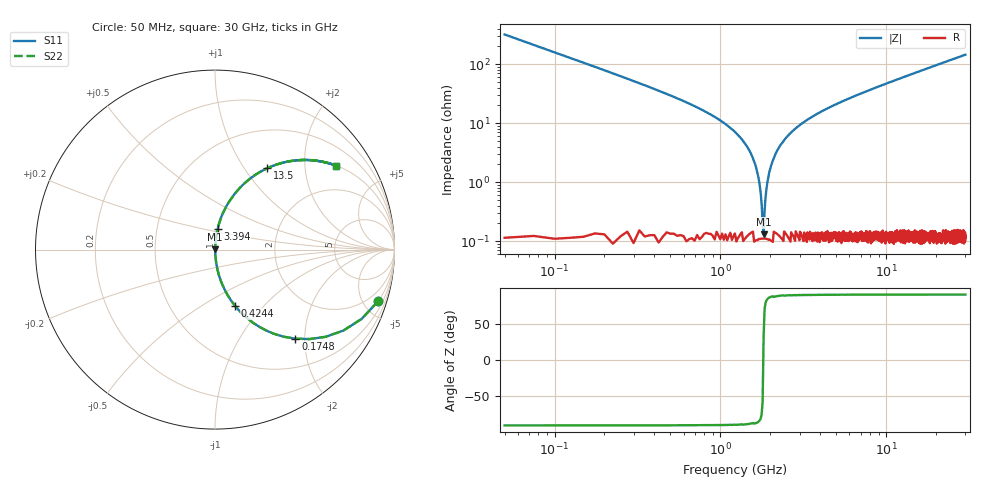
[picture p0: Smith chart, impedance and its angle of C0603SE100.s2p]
!	AVX Thin Film Operation 	Date: April 2014
!	Description: Accu-P® Series, Thin Film  SMD RF Capacitor
!	Part Number: 06035J100FBSTR
# MHZ S MA R 50
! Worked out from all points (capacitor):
!   1201 points, 50 MHz to 30 GHz, reference 50 ohm
!   read as one part in series: C = 10 pF near 199.8 MHz
!   lowest |Z| = 130 mohm at 1.822 GHz (marker M1)
!   series resonance near 1.815 GHz, so ESL is about 770 pH
!   S11 on the Smith chart (normalised r, x): 50 MHz: 1.00, -6.36; 174.8 MHz: 1.00, -1.80; 424.4 MHz: 1.00, -0.71; 3.394 GHz: 1.00, +0.23; 13.5 GHz: 1.00, +1.28; 30 GHz: 1.00, +2.89
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50  0.954 -17.5  0.3 72.5  0.3 72.5  0.954 -17.5
174.792  0.669 -47.9  0.742 42.0  0.742 42.0  0.669 -47.9
299.583  0.459 -62.6  0.888 27.3  0.888 27.3  0.459 -62.6
424.375  0.334 -70.3  0.942 19.5  0.942 19.5  0.334 -70.3
798.75  0.158 -80.5  0.986 9.1  0.986 9.1  0.158 -80.5
1372.792  0.049 -85.8  0.998 2.8  0.998 2.8  0.049 -85.8
1572.458  0.025 -85.8  0.998 1.4  0.998 1.4  0.025 -85.8
1722.208  0.009268 -82.0  0.999 0.5  0.999 0.5  0.009268 -82.0
1822.042  0.00139 29.5  0.999 -0.0  0.999 -0.0  0.00139 29.5
1921.875  0.01 82.6  0.999 -0.6  0.999 -0.6  0.01 82.6
2021.708  0.019 85.3  0.999 -1.1  0.999 -1.1  0.019 85.3
2096.583  0.025 85.8  0.998 -1.5  0.998 -1.5  0.025 85.8
2321.208  0.044 85.9  0.998 -2.5  0.998 -2.5  0.044 85.9
2745.5  0.074 84.8  0.996 -4.3  0.996 -4.3  0.074 84.8
3394.417  0.116 82.7  0.992 -6.7  0.992 -6.7  0.116 82.7
5041.667  0.207 77.7  0.977 -12.0  0.977 -12.0  0.207 77.7
10058.29  0.425 64.7  0.904 -25.2  0.904 -25.2  0.425 64.7
13502.54  0.539 57.3  0.841 -32.6  0.841 -32.6  0.539 57.3
15025  0.581 54.4  0.813 -35.5  0.813 -35.5  0.581 54.4
20016.67  0.692 46.2  0.721 -43.8  0.721 -43.8  0.692 46.2
25033.29  0.769 39.7  0.639 -50.2  0.639 -50.2  0.769 39.7
30000  0.822 34.7  0.569 -55.3  0.569 -55.3  0.822 34.7
